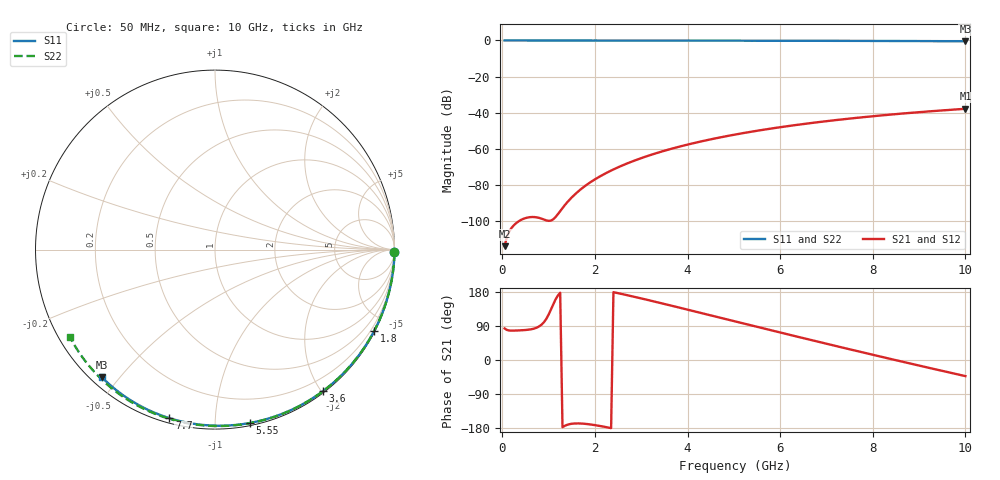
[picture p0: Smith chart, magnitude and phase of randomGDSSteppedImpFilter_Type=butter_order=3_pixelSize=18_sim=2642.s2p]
! freq	dB(S11)	phase(S11)	dB(S12)	phase(S12)
!  dB(S21)	phase(S21)	dB(S22)	phase(S22)
!S-par simulation data
#  GHz  S  DB  R 50
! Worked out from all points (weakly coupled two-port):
!   200 points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, 50 MHz to 10 GHz, reference 50 ohm
!   highest |S21| = -37.89 dB at 10 GHz (marker M1); lowest = -114.1 dB at 50 MHz (marker M2)
!   lowest |S11| = -0.4 dB at 10 GHz (marker M3), VSWR 39.18, Z = 1.53 - j22.5 ohm
!   |S11| at or under -10 dB: nowhere
!   |S22| runs from -0.5 to 0.0 dB; largest |S21 - S12| = 0
!   S11 on the Smith chart (normalised r, x): 50 MHz: open; 1.8 GHz: 0.04, -4.17; 3.6 GHz: 0.02, -2.02; 5.55 GHz: 0.02, -1.22; 7.7 GHz: 0.02, -0.77; 10 GHz: 0.03, -0.45
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0.05  -0.00 -0.8  -114.05 83.3  -114.05 83.3  -0.00 -0.9
0.45  -0.01 -6.8  -98.95 78.7  -98.95 78.7  -0.01 -7.8
0.9  -0.02 -13.6  -99.29 99.9  -99.29 99.9  -0.02 -15.5
1.3  -0.02 -19.6  -92.92 -177.3  -92.92 -177.3  -0.03 -22.2
1.75  -0.03 -26.2  -81.39 -168.0  -81.39 -168.0  -0.04 -29.8
1.8  -0.03 -26.9  -80.43 -168.6  -80.43 -168.6  -0.04 -30.6
1.85  -0.04 -27.7  -79.53 -169.3  -79.53 -169.3  -0.04 -31.4
2.05  -0.04 -30.6  -76.23 -172.8  -76.23 -172.8  -0.04 -34.8
2.2  -0.04 -32.8  -74.08 -176.1  -74.08 -176.1  -0.05 -37.2
2.55  -0.05 -37.9  -69.76 175.1  -69.76 175.1  -0.06 -43.0
2.95  -0.06 -43.6  -65.70 164.0  -65.70 164.0  -0.06 -49.4
3.4  -0.07 -49.9  -61.90 150.8  -61.90 150.8  -0.08 -56.5
3.6  -0.07 -52.7  -60.42 144.9  -60.42 144.9  -0.08 -59.7
4.3  -0.09 -62.3  -55.94 123.9  -55.94 123.9  -0.10 -70.4
5.05  -0.11 -72.2  -52.06 101.2  -52.06 101.2  -0.13 -81.6
5.55  -0.13 -78.7  -49.86 86.1  -49.86 86.1  -0.15 -88.8
6.1  -0.15 -85.7  -47.73 69.6  -47.73 69.6  -0.17 -96.6
6.7  -0.18 -93.1  -45.68 51.8  -45.68 51.8  -0.20 -105.0
7.7  -0.24 -105.1  -42.78 22.5  -42.78 22.5  -0.27 -118.5
8.35  -0.29 -112.7  -41.17 3.7  -41.17 3.7  -0.33 -127.2
9.2  -0.36 -122.5  -39.35 -20.3  -39.35 -20.3  -0.41 -138.4
10  -0.44 -131.5  -37.89 -42.5  -37.89 -42.5  -0.50 -149.0
